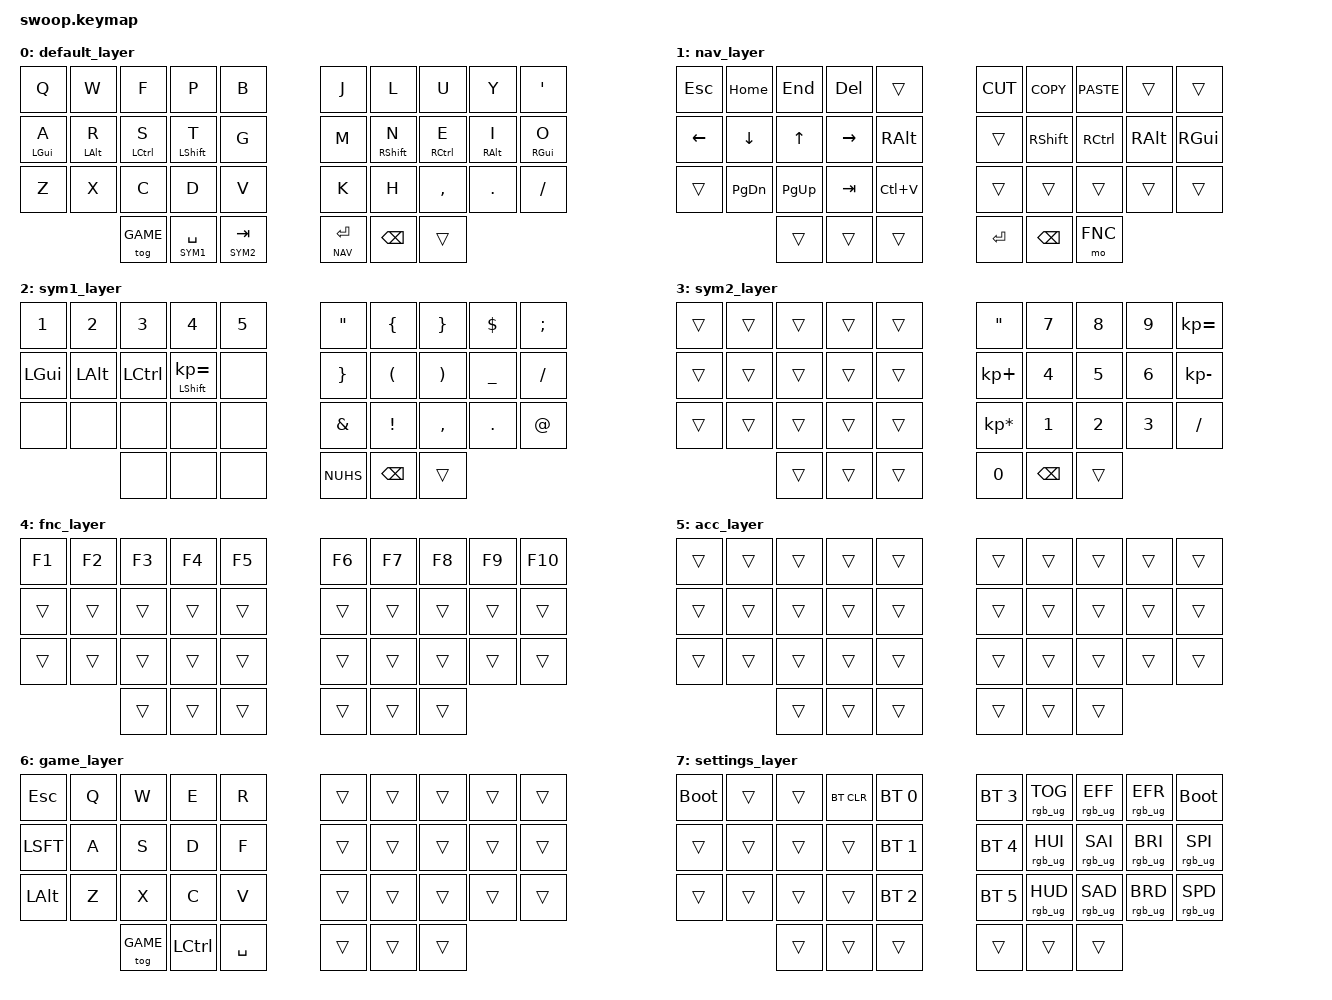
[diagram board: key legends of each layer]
/*
 * Copyright (c) 2020 The ZMK Contributors
 *
 * SPDX-License-Identifier: MIT
 */

#include <behaviors.dtsi>
#include <dt-bindings/zmk/keys.h>
#include <dt-bindings/zmk/bt.h>
#include <dt-bindings/zmk/rgb.h>

#define DEFAULT  0
#define NAV      1
#define SYM1     2
#define SYM2     3
#define FNC      4
#define ACC      5
#define GAME     6
#define SETTINGS 7

&sk {
    ignore-modifiers;
};

&mt {
    tapping-term-ms = <180>;
};

/ {
    combos {
        compatible = "zmk,combos";

        // both right thumb keys
        combo_accent {
            timeout-ms = <300>;
            key-positions = <32 33>;
            bindings = <&mo ACC>;
        };



        // both left thumb keys
        combo_settings {
            timeout-ms = <300>;
            key-positions = <31 32>;
            bindings = <&mo SETTINGS>;
        };
    };

    behaviors {
        hm: homerow_mods {
            compatible = "zmk,behavior-hold-tap";
            label = "HOMEROW_MODS";
            #binding-cells = <2>;
            tapping-term-ms = <150>;
            quick-tap-ms = <0>;
            flavor = "balanced";
            bindings = <&kp>, <&kp>;
        };
    };


    keymap {
        compatible = "zmk,keymap";

        // Base alpha layer
        default_layer {
            bindings = <
                &kp Q    &kp W    &kp F    &kp P         &kp B                         &kp J    &kp L    &kp U     &kp Y    &kp APOS
                &hm LGUI A    &hm LALT R    &hm LCTRL S  &hm LSHIFT T  &kp G           &kp M    &hm RSHIFT N    &hm RCTRL E     &hm RALT I    &hm RGUI O
                &kp Z    &kp X    &kp C    &kp D         &kp V                         &kp K    &kp H    &kp COMMA &kp DOT  &kp FSLH
                                  &tog GAME  &lt SYM1 SPC  &lt SYM2 TAB                          &lt NAV RET  &kp BSPC &trans
            >;
        };

        // Main modifiers and arrow keys
        nav_layer {
            bindings = <
                &kp ESC    &kp HOME     &kp END      &kp DEL     &trans                   &kp K_CUT        &kp K_COPY     &kp K_PASTE      &trans    &trans
                &kp LEFT   &kp DOWN     &kp UP    &kp RIGHT     &kp RALT                       &trans       &kp RSHIFT    &kp RCTRL     &kp RALT    &kp RGUI
                &trans  &kp PG_DN    &kp PG_UP   &kp TAB      &kp LC(V)                       &trans     &trans     &trans      &trans      &trans
                                                 &trans    &trans    &trans                       &kp RET        &kp BSPC      &mo FNC
            >;
        };



        // Numbers and high frequency symbols
        sym1_layer {
            bindings = <
                &kp N1   &kp N2       &kp N3      &kp N4            &kp N5                 &kp DQT         &kp LBRC     &kp RBRC     &kp DLLR      &kp SEMI
                 &kp LGUI    &kp LALT    &kp LCTRL  &hm LSHIFT KP_EQUAL  &none             &kp RBRC    &kp LPAR     &kp RPAR    &kp UNDER        &kp FSLH
                &none    &none      &none     &none    &none                               &kp AMPS  &kp EXCL      &kp COMMA    &kp DOT    &kp AT  
                                             &none     &none    &none                      &kp NUHS            &kp BSPC       &trans
            >;
        };

        // Low frequency symbols
        sym2_layer {
            bindings = <
                &trans   &trans    &trans    &trans    &trans                       &kp DQT    &kp N7    &kp N8     &kp N9     &kp KP_EQUAL
                &trans   &trans    &trans    &trans    &trans                       &kp KP_PLUS    &kp N4     &kp N5     &kp N6     &kp KP_MINUS 
                &trans   &trans    &trans    &trans    &trans                       &kp KP_MULTIPLY    &kp N1     &kp N2     &kp N3     &kp FSLH 
                                   &trans    &trans    &trans                       &kp N0    &kp BSPC    &trans
            >;
        };

        // Function keys with modifiers
        fnc_layer {
            bindings = <
                &kp F1   &kp F2    &kp F3    &kp F4    &kp F5                       &kp F6    &kp F7    &kp F8    &kp F9    &kp F10
                &trans   &trans    &trans    &trans    &trans                       &trans    &trans    &trans    &trans    &trans
                &trans   &trans    &trans    &trans    &trans                       &trans    &trans    &trans    &trans    &trans
                                   &trans    &trans    &trans                       &trans    &trans    &trans
            >;
        };

        // Used to type regional accents
        acc_layer {
            bindings = <
                &trans   &trans    &trans    &trans    &trans                       &trans    &trans    &trans    &trans    &trans
                &trans   &trans    &trans    &trans    &trans                       &trans    &trans    &trans    &trans    &trans
                &trans   &trans    &trans    &trans    &trans                       &trans    &trans    &trans    &trans    &trans
                                   &trans    &trans    &trans                       &trans    &trans    &trans
            >;
        };

        game_layer {
            bindings = <
                &kp ESC    &kp Q    &kp W    &kp E    &kp R                       &trans    &trans    &trans    &trans    &trans
                &kp LSFT   &kp A    &kp S    &kp D    &kp F                       &trans    &trans    &trans    &trans    &trans
                &kp LALT   &kp Z    &kp X    &kp C    &kp V                       &trans    &trans    &trans    &trans    &trans
                               &tog GAME  &kp LCTL  &kp SPC                       &trans    &trans    &trans
            >;
        };

        // Used to change the keyboard's settings
        settings_layer {
            bindings = <
                &bootloader    &trans    &trans    &bt BT_CLR    &bt BT_SEL 0                       &bt BT_SEL 3    &rgb_ug RGB_TOG   &rgb_ug RGB_EFF   &rgb_ug RGB_EFR    &bootloader
                &trans         &trans    &trans    &trans        &bt BT_SEL 1                       &bt BT_SEL 4    &rgb_ug RGB_HUI   &rgb_ug RGB_SAI   &rgb_ug RGB_BRI    &rgb_ug RGB_SPI
                &trans         &trans    &trans    &trans        &bt BT_SEL 2                       &bt BT_SEL 5    &rgb_ug RGB_HUD   &rgb_ug RGB_SAD   &rgb_ug RGB_BRD    &rgb_ug RGB_SPD
                                                   &trans    &trans    &trans                       &trans    &trans    &trans
            >;
        };
    };
};
